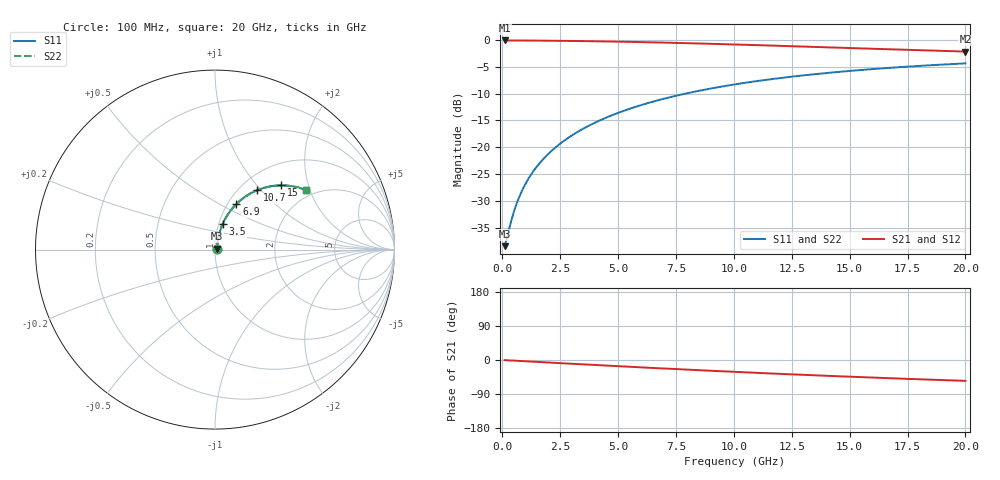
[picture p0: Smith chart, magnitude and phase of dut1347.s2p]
! Touchstone file exported from HFSS 2026.1.0
!  File:  C:/ffzhzh/LocalFiles/Ansys_Project_Files/temp_train_BSMRDL_1347_1783178958_55132.aedt
!  Generated:  11:30:30 PM Jul  4, 2026
!  Design:  BSMRDL
!  Project:  temp_train_BSMRDL_1347_1783178958_55132
! Variables:
!  h_bsmrdl = 2.34um
!  h_ox = 20um
!  h_rdl = 5um
!  h_sub = 80um
!  h_tmrdl = 5um
!  h_tsv = 80um
!  h_via = 3um
!  l_bsmrdl = 756.32um
!  l_sub = 1156.32um
!  l_tmrdl = 200um
!  m_sub = 200um
!  pitch = 44.32um
!  r_tsv = 6um
!  s_tmrdl = 10um
!  w_bsmrdl = 10.13um
!  w_sub = 500um
!  w_tmrdl = 12um
!  x_tsv_center1 = 206um
!  x_tsv_center2 = 972.45um
!  x_tsv_center3 = 1184.45um
!  x_tsv_center4 = 1950.9um
!  x_tsv_center5 = 2162.9um
!  x_tsv_center6 = 2929.35um
# GHz S MA R 50.000000
! Terminal data exported
! Port[1] = BSM_RDL1_1_T1
! Port[2] = BSM_RDL1_1_T2
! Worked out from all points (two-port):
!   200 points, 100 MHz to 20 GHz, reference 50 ohm
!   highest |S21| = -0.10 dB at 100 MHz (marker M1); lowest = -2.2 dB at 20 GHz (marker M2)
!   |S21| within 3 dB of the highest: start of sweep to end of sweep
!   lowest |S11| = -38.4 dB at 100 MHz (marker M3), VSWR 1.02, Z = 51.1 + j0.453 ohm
!   |S11| at or under -10 dB: start of sweep to 7.906 GHz
!   |S22| runs from -38.4 to -4.4 dB; largest |S21 - S12| = 3.4e-15
!   S11 on the Smith chart (normalised r, x): 100 MHz: 1.02, +0.01; 3.5 GHz: 1.04, +0.31; 6.9 GHz: 1.10, +0.60; 10.7 GHz: 1.20, +0.95; 15 GHz: 1.40, +1.36; 20 GHz: 1.78, +1.87
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0.1  0.01201 21.6  0.9888 -0.3  0.9888 -0.3  0.01201 21.6
! Gamma 0 0 0 0
! Port Impedance 50 0 50 0
0.4  0.02119 56.2  0.9885 -1.4  0.9885 -1.4  0.02119 56.2
0.5  0.02508 61.1  0.9883 -1.7  0.9883 -1.7  0.02508 61.1
0.7  0.0332 66.9  0.9878 -2.4  0.9878 -2.4  0.0332 66.9
1  0.04565 71.3  0.987 -3.4  0.987 -3.4  0.04565 71.3
1.3  0.05817 73.4  0.986 -4.4  0.986 -4.4  0.05818 73.4
1.7  0.07489 74.6  0.9846 -5.7  0.9846 -5.7  0.07489 74.6
2.2  0.09574 74.9  0.9826 -7.3  0.9826 -7.3  0.09575 74.9
2.8  0.1206 74.5  0.9796 -9.3  0.9796 -9.3  0.1206 74.4
3.5  0.1494 73.3  0.9755 -11.5  0.9755 -11.5  0.1494 73.3
4.2  0.1776 71.8  0.9706 -13.8  0.9706 -13.8  0.1777 71.8
5  0.2093 69.9  0.9641 -16.3  0.9641 -16.3  0.2093 69.9
5.9  0.2438 67.6  0.9558 -19.1  0.9558 -19.1  0.2438 67.5
6.8  0.2771 65.1  0.9465 -21.9  0.9465 -21.9  0.2771 65.1
6.9  0.2807 64.9  0.9454 -22.2  0.9454 -22.2  0.2808 64.8
8.4  0.333 60.8  0.928 -26.7  0.928 -26.7  0.333 60.7
10.1  0.3873 56.3  0.9065 -31.5  0.9065 -31.5  0.3873 56.2
10.7  0.4052 54.7  0.8986 -33.1  0.8986 -33.1  0.4052 54.6
13.4  0.4776 47.9  0.8622 -40.2  0.8622 -40.2  0.4776 47.8
15  0.5145 44.1  0.8407 -44.1  0.8407 -44.1  0.5146 44.0
16.7  0.5492 40.3  0.8186 -48.0  0.8186 -48.0  0.5493 40.2
20  0.6048 33.4  0.7791 -55.1  0.7791 -55.1  0.6048 33.3
